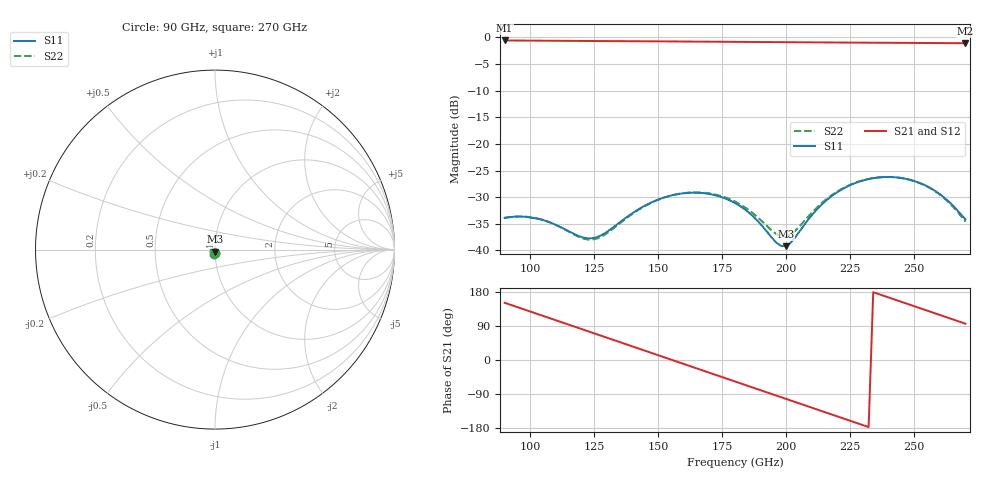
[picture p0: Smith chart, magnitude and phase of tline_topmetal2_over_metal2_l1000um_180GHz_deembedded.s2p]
! Created with skrf 2.2.0 (http://scikit-rf.org).
# GHz S DB R 50.0
! Port[1] = P1
! Port[2] = P2
!freq dBS11 angS11 dBS21 angS21 dBS12 angS12 dBS22 angS22
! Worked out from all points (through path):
!   101 points, 90 GHz to 270 GHz, reference 50 ohm
!   highest |S21| = -0.56 dB at 90 GHz (marker M1); lowest = -1.1 dB at 270 GHz (marker M2)
!   group delay of S21, straight-line fit = 6.41 ps
!   lowest |S11| = -39.2 dB at 199.8 GHz (marker M3), VSWR 1.02, Z = 50 - j1.09 ohm
!   |S11| at or under -10 dB: start of sweep to end of sweep
!   |S22| runs from -38.0 to -26.2 dB; largest |S21 - S12| = 1e-13
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90  -33.90 -93.5  -0.56 151.1  -0.56 151.1  -33.89 -93.0
99  -33.73 -103.2  -0.58 130.3  -0.58 130.3  -33.71 -102.9
106.2  -34.49 -109.6  -0.61 113.7  -0.61 113.7  -34.48 -109.5
113.4  -36.01 -110.7  -0.63 97.1  -0.63 97.1  -36.05 -110.9
120.6  -37.58 -100.7  -0.65 80.4  -0.65 80.4  -37.76 -100.8
127.8  -37.16 -82.0  -0.67 63.8  -0.67 63.8  -37.43 -81.0
136.8  -34.09 -71.7  -0.69 43.1  -0.69 43.1  -34.25 -69.5
151.2  -30.25 -83.0  -0.73 9.8  -0.73 9.8  -30.28 -80.4
158.4  -29.38 -93.4  -0.75 -6.8  -0.75 -6.8  -29.36 -90.5
165.6  -29.18 -104.5  -0.77 -23.4  -0.77 -23.4  -29.11 -101.3
180  -31.11 -125.2  -0.82 -56.7  -0.82 -56.7  -30.84 -120.7
190.8  -35.52 -128.5  -0.85 -81.6  -0.85 -81.6  -34.66 -122.6
196.2  -38.58 -112.4  -0.87 -94.0  -0.87 -94.0  -36.96 -108.7
199.8  -39.22 -90.0  -0.88 -102.3  -0.88 -102.3  -37.42 -91.8
210.6  -33.06 -57.8  -0.92 -127.2  -0.92 -127.2  -32.64 -63.2
219.6  -29.19 -64.8  -0.94 -148.0  -0.94 -148.0  -29.06 -68.3
226.8  -27.39 -75.4  -0.96 -164.6  -0.96 -164.6  -27.33 -78.1
234  -26.44 -87.4  -0.98 178.9  -0.98 178.9  -26.42 -89.6
241.2  -26.23 -99.7  -1.00 162.3  -1.00 162.3  -26.22 -101.6
248.4  -26.75 -111.6  -1.02 145.7  -1.02 145.7  -26.76 -113.3
257.4  -28.60 -123.8  -1.04 124.9  -1.04 124.9  -28.65 -125.7
270  -34.20 -120.3  -1.07 95.8  -1.07 95.8  -34.61 -123.0
